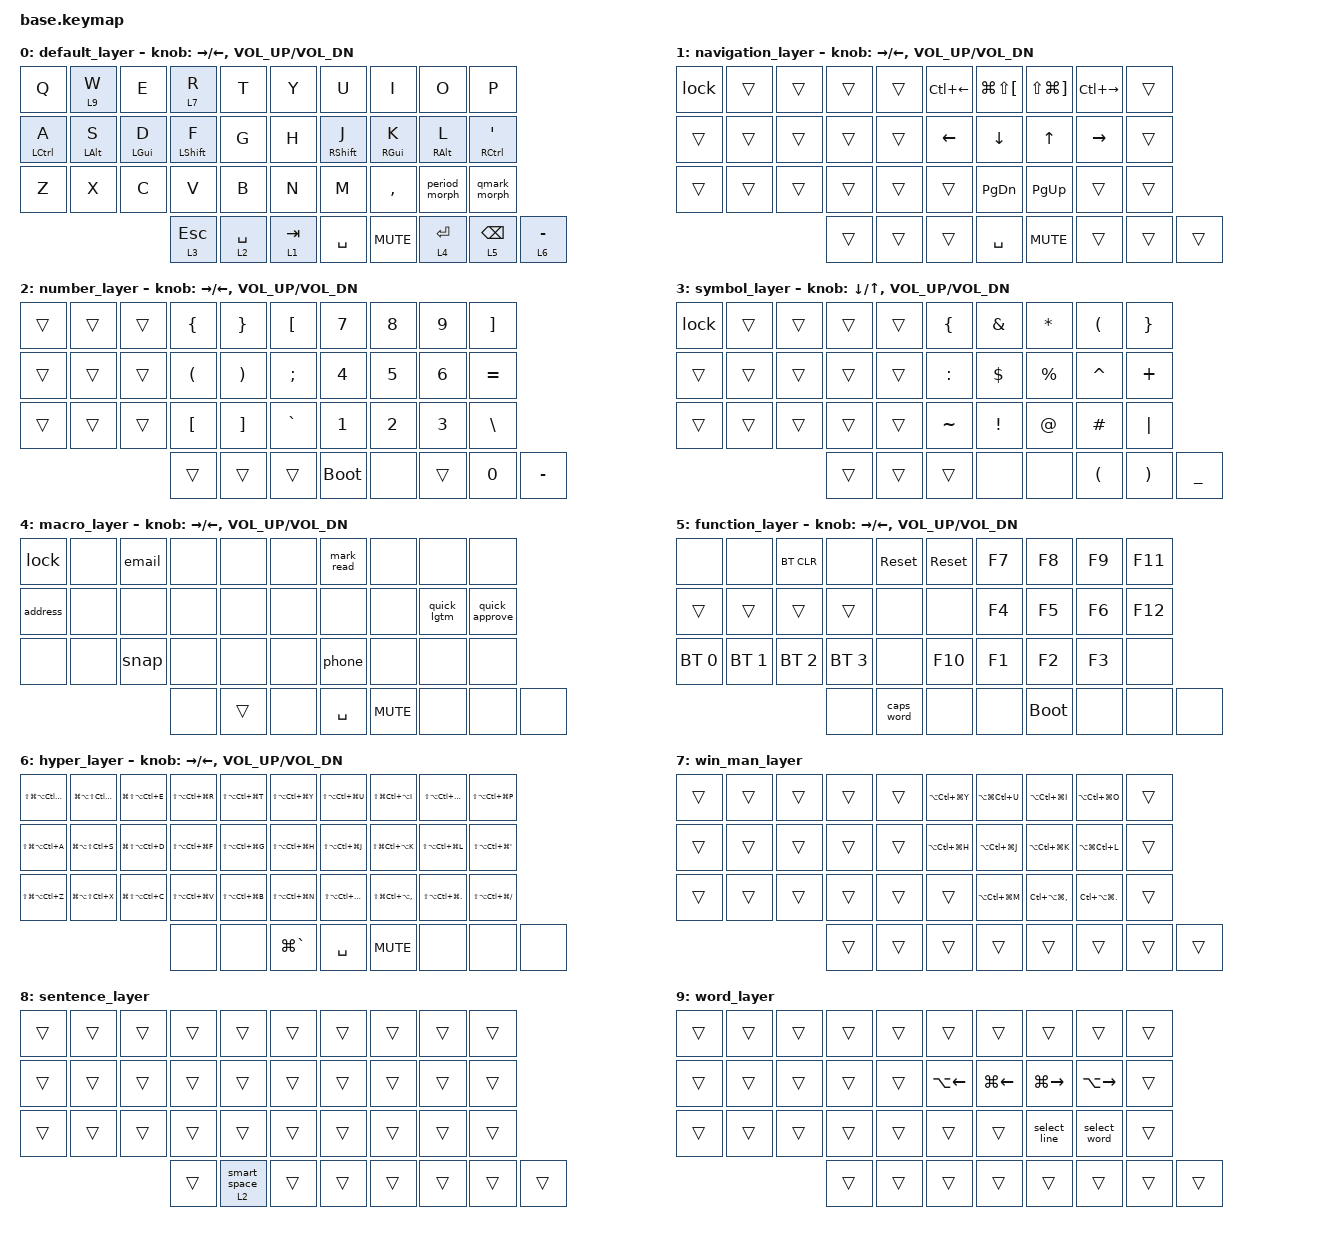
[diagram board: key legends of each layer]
#include <behaviors.dtsi>
#include <dt-bindings/zmk/bt.h>
#include <dt-bindings/zmk/keys.h>

/ {
    macros {
        lock: lock {
            compatible = "zmk,behavior-macro";
            #binding-cells = <0>;
            bindings = <&kp LG(LC(Q))>;
            label = "LOCK";
        };

        email: email {
            compatible = "zmk,behavior-macro";
            #binding-cells = <0>;
            bindings = <&kp S &kp W &kp A &kp P &kp N &kp I &kp L &kp S &kp M &kp AT &kp G &kp M &kp A &kp I &kp L &kp DOT &kp C &kp O &kp M>;
            label = "EMAIL";
        };

        phone: phone {
            compatible = "zmk,behavior-macro";
            #binding-cells = <0>;
            bindings = <&kp N9 &kp N1 &kp N9 &kp N9 &kp N9 &kp N9 &kp N9 &kp N9 &kp N9 &kp N9>;
            label = "PHONE";
        };

        snap: snap {
            compatible = "zmk,behavior-macro";
            #binding-cells = <0>;
            bindings = <&kp LG(LC(LS(N4)))>;
            label = "SNAP";
        };

        address: address {
            compatible = "zmk,behavior-macro";
            #binding-cells = <0>;
            bindings = <&kp LS(A) &kp SPACE &kp N5 &kp N0 &kp N4>;
            label = "ADDRESS";
        };

        mark_read: mark_read {
            compatible = "zmk,behavior-macro";
            #binding-cells = <0>;
            bindings = <&kp STAR &kp U &kp LS(I) &kp STAR &kp N>;
            label = "MARK_READ";
        };

        smart_period: smart_period {
            compatible = "zmk,behavior-macro";
            #binding-cells = <0>;
            bindings = <&kp DOT &sl 8>;
            label = "SMART_PERIOD";
        };

        smart_qmark: smart_qmark {
            compatible = "zmk,behavior-macro";
            #binding-cells = <0>;
            bindings = <&kp QMARK &sl 8>;
            label = "SMART_QMARK";
        };

        smart_space: smart_space {
            compatible = "zmk,behavior-macro";
            #binding-cells = <0>;
            bindings = <&kp SPACE &fast_sk LSHIFT>;
            label = "SMART_SPACE";
        };

        quick_approve: quick_approve {
            compatible = "zmk,behavior-macro";
            #binding-cells = <0>;
            bindings =
                <&macro_wait_time 100>,
                <&kp LG(F)>,
                <&macro_wait_time 10>,
                <&kp LS(Q) &kp U &kp I &kp C &kp K &kp SPACE &kp LS(A) &kp P &kp P &kp R &kp O &kp V &kp E>,
                <&macro_wait_time 100>,
                <&kp RET &kp ESC &kp RET>;

            label = "QUICK_APPROVE";
        };

        quick_lgtm: quick_lgtm {
            compatible = "zmk,behavior-macro";
            #binding-cells = <0>;
            bindings =
                <&macro_wait_time 100>,
                <&kp LG(F)>,
                <&macro_wait_time 10>,
                <&kp LS(Q) &kp U &kp I &kp C &kp K &kp SPACE &kp LS(L) &kp LS(G) &kp LS(T) &kp LS(M)>,
                <&macro_wait_time 100>,
                <&kp RET &kp ESC &kp RET>;

            label = "QUICK_LGTM";
        };

        select_word: select_word {
            compatible = "zmk,behavior-macro";
            #binding-cells = <0>;
            bindings = <&kp LA(RIGHT) &kp LA(LEFT) &kp LA(LS(RIGHT))>;
            label = "SELECT_WORD";
        };

        select_line: select_line {
            compatible = "zmk,behavior-macro";
            #binding-cells = <0>;
            bindings = <&kp LG(RIGHT) &kp LG(LEFT) &kp LS(LG(RIGHT))>;
            label = "SELECT_LINE";
        };
    };

    behaviors {
        hml: homerow_mods_left {
            compatible = "zmk,behavior-hold-tap";
            label = "HOMEROW_MODS_LEFT_HAND";
            bindings = <&kp>, <&kp>;

            #binding-cells = <2>;
            tapping-term-ms = <200>;
            hold-trigger-key-positions = <5 6 7 8 9 15 16 17 18 19 25 26 27 28 29 34 35 36 37>;
            quick-tap-ms = <175>;
            flavor = "balanced";
            hold-trigger-on-release;
            require-prior-idle-ms = <50>;
            hold-while-undecided;
        };

        hmr: homerow_mods_right {
            compatible = "zmk,behavior-hold-tap";
            label = "HOMEROW_MODS_RIGHT_HAND";
            bindings = <&kp>, <&kp>;

            #binding-cells = <2>;
            tapping-term-ms = <200>;
            hold-trigger-key-positions = <0 1 2 3 4 10 11 12 13 14 20 21 22 23 24 30 31 32 33>;
            quick-tap-ms = <175>;
            flavor = "balanced";
            hold-trigger-on-release;
            require-prior-idle-ms = <50>;
            hold-while-undecided;
        };

        period_morph: period_morph {
            compatible = "zmk,behavior-mod-morph";
            label = "PERIOD_MORPH";
            bindings = <&smart_period>, <&kp GT>;

            #binding-cells = <0>;
            mods = <(MOD_LSFT)>;
        };

        qmark_morph: qmark_morph {
            compatible = "zmk,behavior-mod-morph";
            label = "QMARK_MORPH";
            bindings = <&kp SLASH>, <&smart_qmark>;

            #binding-cells = <0>;
            mods = <(MOD_LSFT)>;
        };

        fast_sk: fast_sticky_key {
            compatible = "zmk,behavior-sticky-key";
            label = "FAST_STICKY_KEY";
            bindings = <&kp>;
            #binding-cells = <1>;
            quick-release;
            release-after-ms = <1000>;
            lazy;
        };

        caps_wrd: caps_wrd {
            compatible = "zmk,behavior-caps-word";
            label = "CAPS_WRD";
            #binding-cells = <0>;
            continue-list = <UNDERSCORE MINUS DELETE BACKSPACE>;
        };

        mo_smart_space: mo_smart_space {
            compatible = "zmk,behavior-hold-tap";
            label = "MO_SMART_SPACE";
            bindings = <&mo>, <&smart_space>;

            #binding-cells = <2>;
            tapping-term-ms = <100>;
            flavor = "hold-preferred";
            retro-tap;
        };
    };

    combos {
        compatible = "zmk,combos";

        caps_word {
            bindings = <&caps_wrd>;
            key-positions = <14 15>;
        };
    };

    keymap {
        compatible = "zmk,keymap";

        default_layer {
            bindings = <
&kp Q         &lt 9 W      &kp E        &lt 7 R        &kp T        &kp Y                 &kp U          &kp I        &kp O          &kp P
&hml LCTRL A  &hml LALT S  &hml LGUI D  &hml LSHIFT F  &kp G        &kp H                 &hmr RSHIFT J  &hmr RGUI K  &hmr RALT L    &hmr RCTRL SQT
&kp Z         &kp X        &kp C        &kp V          &kp B        &kp N                 &kp M          &kp COMMA    &period_morph  &qmark_morph
                                        &lt 3 ESC      &lt 2 SPACE  &lt 1 TAB  &kp SPACE  &kp C_MUTE     &lt 4 RET    &lt 5 BSPC     &lt 6 MINUS
            >;

            sensor-bindings =
                <&inc_dec_kp RIGHT LEFT>,
                <&inc_dec_kp C_VOL_UP C_VOL_DN>;
        };

        navigation_layer {
            bindings = <
&lock   &trans  &trans  &trans  &trans  &kp LC(LEFT)             &kp LG(LS(LBKT))  &kp LS(LG(RBKT))  &kp LC(RIGHT)  &trans
&trans  &trans  &trans  &trans  &trans  &kp LEFT                 &kp DOWN          &kp UP            &kp RIGHT      &trans
&trans  &trans  &trans  &trans  &trans  &trans                   &kp PG_DN         &kp PG_UP         &trans         &trans
                        &trans  &trans  &trans        &kp SPACE  &kp C_MUTE        &trans            &trans         &trans
            >;

            sensor-bindings =
                <&inc_dec_kp RIGHT LEFT>,
                <&inc_dec_kp C_VOL_UP C_VOL_DN>;
        };

        number_layer {
            bindings = <
&trans  &trans  &trans  &kp LBRC  &kp RBRC  &kp LBKT                &kp N7  &kp N8  &kp N9  &kp RBKT
&trans  &trans  &trans  &kp LPAR  &kp RPAR  &kp SEMI                &kp N4  &kp N5  &kp N6  &kp EQUAL
&trans  &trans  &trans  &kp LBKT  &kp RBKT  &kp GRAVE               &kp N1  &kp N2  &kp N3  &kp BSLH
                        &trans    &trans    &trans     &bootloader  &none   &trans  &kp N0  &kp MINUS
            >;

            sensor-bindings =
                <&inc_dec_kp RIGHT LEFT>,
                <&inc_dec_kp C_VOL_UP C_VOL_DN>;
        };

        symbol_layer {
            bindings = <
&lock   &trans  &trans  &trans  &trans  &kp LBRC          &kp AMPS  &kp STAR   &kp LPAR   &kp RBRC
&trans  &trans  &trans  &trans  &trans  &kp COLON         &kp DLLR  &kp PRCNT  &kp CARET  &kp PLUS
&trans  &trans  &trans  &trans  &trans  &kp TILDE         &kp EXCL  &kp AT     &kp HASH   &kp PIPE
                        &trans  &trans  &trans     &none  &none     &kp LPAR   &kp RPAR   &kp UNDER
            >;

            sensor-bindings =
                <&inc_dec_kp DOWN UP>,
                <&inc_dec_kp C_VOL_UP C_VOL_DN>;
        };

        macro_layer {
            bindings = <
&lock     &none  &email  &none  &none   &none             &mark_read  &none  &none        &none
&address  &none  &none   &none  &none   &none             &none       &none  &quick_lgtm  &quick_approve
&none     &none  &snap   &none  &none   &none             &phone      &none  &none        &none
                         &none  &trans  &none  &kp SPACE  &kp C_MUTE  &none  &none        &none
            >;

            sensor-bindings =
                <&inc_dec_kp RIGHT LEFT>,
                <&inc_dec_kp C_VOL_UP C_VOL_DN>;
        };

        function_layer {
            bindings = <
&none         &none         &bt BT_CLR    &none         &sys_reset  &sys_reset         &kp F7       &kp F8  &kp F9  &kp F11
&trans        &trans        &trans        &trans        &none       &none              &kp F4       &kp F5  &kp F6  &kp F12
&bt BT_SEL 0  &bt BT_SEL 1  &bt BT_SEL 2  &bt BT_SEL 3  &none       &kp F10            &kp F1       &kp F2  &kp F3  &none
                                          &none         &caps_word  &none       &none  &bootloader  &none   &none   &none
            >;

            sensor-bindings =
                <&inc_dec_kp RIGHT LEFT>,
                <&inc_dec_kp C_VOL_UP C_VOL_DN>;
        };

        hyper_layer {
            bindings = <
&kp LS(LG(LA(LC(Q))))  &kp LG(LA(LS(LC(W))))  &kp LG(LS(LA(LC(E))))  &kp LS(LA(LC(LG(R))))  &kp LS(LA(LC(LG(T))))  &kp LS(LA(LC(LG(Y))))             &kp LS(LA(LC(LG(U))))  &kp LS(LG(LC(LA(I))))      &kp LS(LA(LC(LG(O))))    &kp LS(LA(LC(LG(P))))
&kp LS(LG(LA(LC(A))))  &kp LG(LA(LS(LC(S))))  &kp LG(LS(LA(LC(D))))  &kp LS(LA(LC(LG(F))))  &kp LS(LA(LC(LG(G))))  &kp LS(LA(LC(LG(H))))             &kp LS(LA(LC(LG(J))))  &kp LS(LG(LC(LA(K))))      &kp LS(LA(LC(LG(L))))    &kp LS(LA(LC(LG(SQT))))
&kp LS(LG(LA(LC(Z))))  &kp LG(LA(LS(LC(X))))  &kp LG(LS(LA(LC(C))))  &kp LS(LA(LC(LG(V))))  &kp LS(LA(LC(LG(B))))  &kp LS(LA(LC(LG(N))))             &kp LS(LA(LC(LG(M))))  &kp LS(LG(LC(LA(COMMA))))  &kp LS(LA(LC(LG(DOT))))  &kp LS(LA(LC(LG(FSLH))))
                                                                     &none                  &none                  &kp LG(GRAVE)          &kp SPACE  &kp C_MUTE             &none                      &none                    &none
            >;

            sensor-bindings =
                <&inc_dec_kp RIGHT LEFT>,
                <&inc_dec_kp C_VOL_UP C_VOL_DN>;
        };

        win_man_layer {
            bindings = <
&trans  &trans  &trans  &trans  &trans  &kp LA(LC(LG(Y)))          &kp LA(LG(LC(U)))  &kp LA(LC(LG(I)))      &kp LA(LC(LG(O)))    &trans
&trans  &trans  &trans  &trans  &trans  &kp LA(LC(LG(H)))          &kp LA(LC(LG(J)))  &kp LA(LC(LG(K)))      &kp LA(LG(LC(L)))    &trans
&trans  &trans  &trans  &trans  &trans  &trans                     &kp LA(LC(LG(M)))  &kp LC(LA(LG(COMMA)))  &kp LC(LA(LG(DOT)))  &trans
                        &trans  &trans  &trans             &trans  &trans             &trans                 &trans               &trans
            >;
        };

        sentence_layer {
            bindings = <
&trans  &trans  &trans  &trans  &trans               &trans          &trans  &trans  &trans  &trans
&trans  &trans  &trans  &trans  &trans               &trans          &trans  &trans  &trans  &trans
&trans  &trans  &trans  &trans  &trans               &trans          &trans  &trans  &trans  &trans
                        &trans  &mo_smart_space 2 0  &trans  &trans  &trans  &trans  &trans  &trans
            >;
        };

        word_layer {
            bindings = <
&trans  &trans  &trans  &trans  &trans  &trans                &trans        &trans         &trans         &trans
&trans  &trans  &trans  &trans  &trans  &kp LA(LEFT)          &kp LG(LEFT)  &kp LG(RIGHT)  &kp LA(RIGHT)  &trans
&trans  &trans  &trans  &trans  &trans  &trans                &trans        &select_line   &select_word   &trans
                        &trans  &trans  &trans        &trans  &trans        &trans         &trans         &trans
            >;
        };
    };
};
